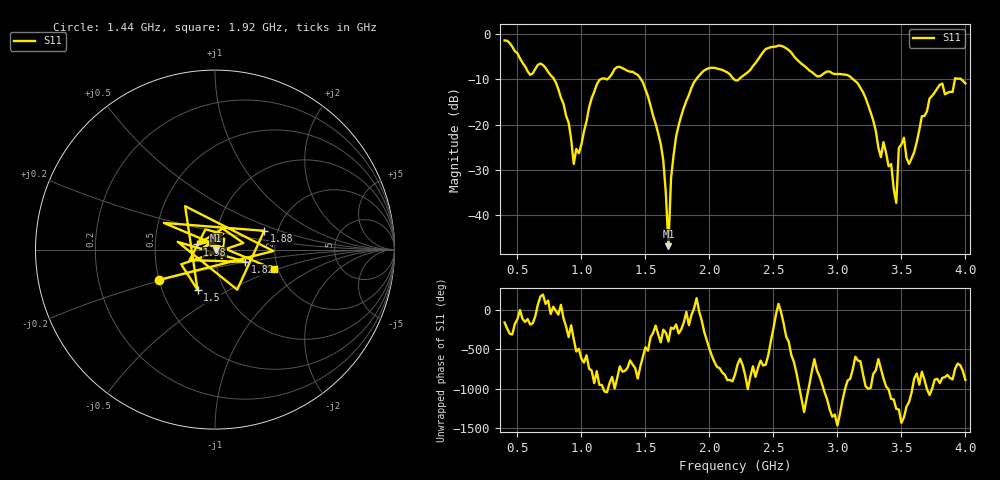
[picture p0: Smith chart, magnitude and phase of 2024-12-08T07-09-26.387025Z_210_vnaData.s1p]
!Created with skrf (http://scikit-rf.org).
# Hz S RI R 50.0
!freq ReS11 ImS11
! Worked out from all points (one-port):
!   181 points, 400 MHz to 4 GHz, reference 50 ohm
!   lowest |S11| = -46.9 dB at 1.68 GHz (marker M1), VSWR 1.01, Z = 50.3 - j0.287 ohm
!   |S11| at or under -10 dB: 786.4 MHz to 1.15 GHz (363.3 MHz wide, 37.5 % of centre); 1.465 GHz to 1.896 GHz (431 MHz wide, 25.6 % of centre); 3.123 GHz to 3.918 GHz (795.9 MHz wide, 22.6 % of centre) (the widest 3 of 6)
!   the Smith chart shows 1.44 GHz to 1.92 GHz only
!   S11 on the Smith chart (normalised r, x): 1.44 GHz: 0.50, -0.19; 1.5 GHz: 0.75, -0.36; 1.58 GHz: 0.82, +0.05; 1.82 GHz: 1.39, -0.20; 1.88 GHz: 1.70, +0.39; 1.92 GHz: 1.91, -0.48
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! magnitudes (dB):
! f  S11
! 400 MHz  -1.4
! 860 MHz  -15.4
! 940 MHz  -28.7
! 1.12 GHz  -11.1
! 1.3 GHz  -7.2
! 1.44 GHz  -9.0
! 1.5 GHz  -12.2
! 1.58 GHz  -19.8
! 1.64 GHz  -28.0
! 1.68 GHz  -46.9
! 1.7 GHz  -32.0
! 1.76 GHz  -20.1
! 1.82 GHz  -14.8
! 1.88 GHz  -10.6
! 1.92 GHz  -9.2
! 2.2 GHz  -10.2
! 2.44 GHz  -3.3
! 2.66 GHz  -4.9
! 3.1 GHz  -9.4
! 3.22 GHz  -14.1
! 3.34 GHz  -27.2
! 3.36 GHz  -23.9
! 3.46 GHz  -37.4
! 3.48 GHz  -25.2
! 3.52 GHz  -22.9
! 3.56 GHz  -28.7
! 3.72 GHz  -14.2
! 4 GHz  -10.9
